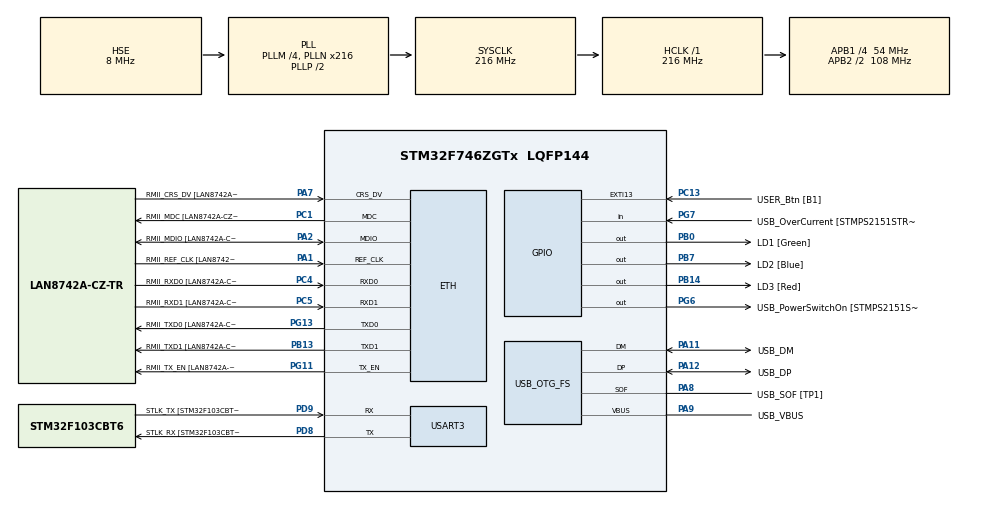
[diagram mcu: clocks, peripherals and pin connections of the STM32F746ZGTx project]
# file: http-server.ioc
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ETH.MediaInterface=ETH_MEDIA_INTERFACE_RMII
ETH.PHY_Name=LAN8742A_PHY_ADDRESS
ETH.PHY_Value=0
ETH.PhyAddress=0
FREERTOS.Tasks01=defaultTask,24,128,StartDefaultTask,Default,NULL,Dynamic,NULL,NULL
LWIP.HTTPD_LIMIT_SENDING_TO_2MSS=0
LWIP.LWIP_HTTPD=1
LWIP.LWIP_HTTPD_SSI_BY_FILE_EXTENSION=0
LWIP.LWIP_TCP=1
LWIP.MEMP_NUM_TCP_PCB=20
LWIP.MEMP_NUM_UDP_PCB=4
LWIP.Version=v2.1.2_Cube
Mcu.Family=STM32F7
Mcu.Name=STM32F746ZGTx
Mcu.Package=LQFP144
NVIC.ETH_IRQn=true\:5\:0\:false\:false\:true\:true\:false\:true\:true
NVIC.PriorityGroup=NVIC_PRIORITYGROUP_4
PA1.GPIO_Label=RMII_REF_CLK [LAN8742A-CZ-TR_REFCLK0]
PA1.Mode=RMII
PA1.Signal=ETH_REF_CLK
PA10.GPIO_Label=USB_ID
PA10.Signal=USB_OTG_FS_ID
PA11.GPIO_Label=USB_DM
PA11.Mode=Device_Only
PA11.Signal=USB_OTG_FS_DM
PA12.GPIO_Label=USB_DP
PA12.Mode=Device_Only
PA12.Signal=USB_OTG_FS_DP
PA13.GPIO_Label=TMS
PA13.Mode=Serial_Wire
PA13.Signal=SYS_JTMS-SWDIO
PA14.GPIO_Label=TCK
PA14.Mode=Serial_Wire
PA14.Signal=SYS_JTCK-SWCLK
PA2.GPIO_Label=RMII_MDIO [LAN8742A-CZ-TR_MDIO]
PA2.Mode=RMII
PA2.Signal=ETH_MDIO
PA7.GPIO_Label=RMII_CRS_DV [LAN8742A-CZ-TR_CRS_DV]
PA7.Mode=RMII
PA7.Signal=ETH_CRS_DV
PA8.GPIO_Label=USB_SOF [TP1]
PA8.Mode=Activate_SOF_FS
PA8.Signal=USB_OTG_FS_SOF
PA9.GPIO_Label=USB_VBUS
PA9.Mode=Activate_VBUS
PA9.Signal=USB_OTG_FS_VBUS
PB0.GPIO_Label=LD1 [Green]
PB0.Signal=GPIO_Output
PB13.GPIO_Label=RMII_TXD1 [LAN8742A-CZ-TR_TXD1]
PB13.Mode=RMII
PB13.Signal=ETH_TXD1
PB14.GPIO_Label=LD3 [Red]
PB14.Signal=GPIO_Output
PB3.GPIO_Label=SW0
PB3.Signal=SYS_JTDO-SWO
PB7.GPIO_Label=LD2 [Blue]
PB7.Signal=GPIO_Output
PC1.GPIO_Label=RMII_MDC [LAN8742A-CZ-TR_MDC]
PC1.Mode=RMII
PC1.Signal=ETH_MDC
PC13.GPIO_Label=USER_Btn [B1]
PC13.Signal=GPXTI13
PC14/OSC32_IN.Mode=LSE-External-Oscillator
PC14/OSC32_IN.Signal=RCC_OSC32_IN
PC15/OSC32_OUT.Mode=LSE-External-Oscillator
PC15/OSC32_OUT.Signal=RCC_OSC32_OUT
PC4.GPIO_Label=RMII_RXD0 [LAN8742A-CZ-TR_RXD0]
PC4.Mode=RMII
PC4.Signal=ETH_RXD0
PC5.GPIO_Label=RMII_RXD1 [LAN8742A-CZ-TR_RXD1]
PC5.Mode=RMII
PC5.Signal=ETH_RXD1
PD8.GPIO_Label=STLK_RX [STM32F103CBT6_PA3]
PD8.Mode=Asynchronous
PD8.Signal=USART3_TX
PD9.GPIO_Label=STLK_TX [STM32F103CBT6_PA2]
PD9.Mode=Asynchronous
PD9.Signal=USART3_RX
PG11.GPIO_Label=RMII_TX_EN [LAN8742A-CZ-TR_TXEN]
PG11.Mode=RMII
PG11.Signal=ETH_TX_EN
PG13.GPIO_Label=RMII_TXD0 [LAN8742A-CZ-TR_TXD0]
PG13.Mode=RMII
PG13.Signal=ETH_TXD0
PG6.GPIO_Label=USB_PowerSwitchOn [STMPS2151STR_EN]
PG6.Signal=GPIO_Output
PG7.GPIO_Label=USB_OverCurrent [STMPS2151STR_FAULT]
PG7.Signal=GPIO_Input
PH0/OSC_IN.GPIO_Label=MCO [STM32F103CBT6_PA8]
PH0/OSC_IN.Mode=HSE-External-Clock-Source
PH0/OSC_IN.Signal=RCC_OSC_IN
PH1/OSC_OUT.Mode=HSE-External-Clock-Source
PH1/OSC_OUT.Signal=RCC_OSC_OUT
ProjectManager.HeapSize=0x200
ProjectManager.StackSize=0x400
ProjectManager.TargetToolchain=STM32CubeIDE
RCC.48MHZClocksFreq_Value=24000000
RCC.AHBFreq_Value=216000000
RCC.APB1CLKDivider=RCC_HCLK_DIV4
RCC.APB1Freq_Value=54000000
RCC.APB1TimFreq_Value=108000000
RCC.APB2CLKDivider=RCC_HCLK_DIV2
RCC.APB2Freq_Value=108000000
RCC.APB2TimFreq_Value=216000000
RCC.CortexFreq_Value=216000000
RCC.HCLKFreq_Value=216000000
RCC.HSE_VALUE=8000000
RCC.HSI_VALUE=16000000
RCC.PLLM=4
RCC.PLLMUL=RCC_PLL_MUL9
RCC.PLLN=216
RCC.PLLQ=9
RCC.PRESCALERUSB=RCC_USBCLKSOURCE_PLL_DIV1_5
RCC.SYSCLKFreq_VALUE=216000000
RCC.SYSCLKSource=RCC_SYSCLKSOURCE_PLLCLK
RCC.SYSCLKSourceVirtual=RCC_SYSCLKSOURCE_PLLCLK
RCC.USBFreq_Value=48000000
RCC.VCOOutputFreq_Value=432000000
USART3.VirtualMode-Asynchronous=VM_ASYNC
USB_OTG_FS.VirtualMode=Device_Only
VP_FREERTOS_VS_CMSIS_V2.Mode=CMSIS_V2
VP_LWIP_VS_Enabled.Mode=Enabled
board=NUCLEO-F746ZG

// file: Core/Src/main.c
/* USER CODE BEGIN Header */
/**
 ******************************************************************************
 * @file           : main.c
 * @brief          : Main program body
 ******************************************************************************
 * @attention
 *
 * Copyright (c) 2022 STMicroelectronics.
 * All rights reserved.
 *
 * This software is licensed under terms that can be found in the LICENSE file
 * in the root directory of this software component.
 * If no LICENSE file comes with this software, it is provided AS-IS.
 *
 ******************************************************************************
 */
/* USER CODE END Header */
#include "main.h"
#include "apps/httpd.h"
#include "cmsis_os.h"
#include "lwip.h"
#include "mongoose.h"

#define MG

UART_HandleTypeDef huart3;

PCD_HandleTypeDef hpcd_USB_OTG_FS;

/* Definitions for defaultTask */
osThreadId_t defaultTaskHandle;
const osThreadAttr_t defaultTask_attributes = {
    .name = "defaultTask",
    .stack_size = 1024 * 4,
    .priority = (osPriority_t) osPriorityNormal,
};

void SystemClock_Config(void);
static void MX_GPIO_Init(void);
static void MX_USART3_UART_Init(void);
static void MX_USB_OTG_FS_PCD_Init(void);
void StartDefaultTask(void *argument);

int main(void) {

  /* MCU Configuration--------------------------------------------------------*/

  /* Reset of all peripherals, Initializes the Flash interface and the Systick.
   */
  HAL_Init();

  /* Configure the system clock */
  SystemClock_Config();

  /* Initialize all configured peripherals */
  MX_GPIO_Init();
  MX_USART3_UART_Init();
  MX_USB_OTG_FS_PCD_Init();

  /* Init scheduler */
  osKernelInitialize();

  /* Create the thread(s) */
  /* creation of defaultTask */
  defaultTaskHandle =
      osThreadNew(StartDefaultTask, NULL, &defaultTask_attributes);

  /* Start scheduler */
  osKernelStart();

  /* We should never get here as control is now taken by the scheduler */
  /* Infinite loop */
  while (1) {

  }
}

void SystemClock_Config(void) {
  RCC_OscInitTypeDef RCC_OscInitStruct = {0};
  RCC_ClkInitTypeDef RCC_ClkInitStruct = {0};

  /** Configure LSE Drive Capability
   */
  HAL_PWR_EnableBkUpAccess();

  /** Configure the main internal regulator output voltage
   */
  __HAL_RCC_PWR_CLK_ENABLE();
  __HAL_PWR_VOLTAGESCALING_CONFIG(PWR_REGULATOR_VOLTAGE_SCALE1);

  /** Initializes the RCC Oscillators according to the specified parameters
   * in the RCC_OscInitTypeDef structure.
   */
  RCC_OscInitStruct.OscillatorType = RCC_OSCILLATORTYPE_HSE;
  RCC_OscInitStruct.HSEState = RCC_HSE_BYPASS;
  RCC_OscInitStruct.PLL.PLLState = RCC_PLL_ON;
  RCC_OscInitStruct.PLL.PLLSource = RCC_PLLSOURCE_HSE;
  RCC_OscInitStruct.PLL.PLLM = 4;
  RCC_OscInitStruct.PLL.PLLN = 216;
  RCC_OscInitStruct.PLL.PLLP = RCC_PLLP_DIV2;
  RCC_OscInitStruct.PLL.PLLQ = 9;
  if (HAL_RCC_OscConfig(&RCC_OscInitStruct) != HAL_OK) {
    Error_Handler();
  }

  /** Activate the Over-Drive mode
   */
  if (HAL_PWREx_EnableOverDrive() != HAL_OK) {
    Error_Handler();
  }

  /** Initializes the CPU, AHB and APB buses clocks
   */
  RCC_ClkInitStruct.ClockType = RCC_CLOCKTYPE_HCLK | RCC_CLOCKTYPE_SYSCLK |
                                RCC_CLOCKTYPE_PCLK1 | RCC_CLOCKTYPE_PCLK2;
  RCC_ClkInitStruct.SYSCLKSource = RCC_SYSCLKSOURCE_PLLCLK;
  RCC_ClkInitStruct.AHBCLKDivider = RCC_SYSCLK_DIV1;
  RCC_ClkInitStruct.APB1CLKDivider = RCC_HCLK_DIV4;
  RCC_ClkInitStruct.APB2CLKDivider = RCC_HCLK_DIV2;

  if (HAL_RCC_ClockConfig(&RCC_ClkInitStruct, FLASH_LATENCY_7) != HAL_OK) {
    Error_Handler();
  }
}

static void MX_USART3_UART_Init(void) {

  huart3.Instance = USART3;
  huart3.Init.BaudRate = 115200;
  huart3.Init.WordLength = UART_WORDLENGTH_8B;
  huart3.Init.StopBits = UART_STOPBITS_1;
  huart3.Init.Parity = UART_PARITY_NONE;
  huart3.Init.Mode = UART_MODE_TX_RX;
  huart3.Init.HwFlowCtl = UART_HWCONTROL_NONE;
  huart3.Init.OverSampling = UART_OVERSAMPLING_16;
  huart3.Init.OneBitSampling = UART_ONE_BIT_SAMPLE_DISABLE;
  huart3.AdvancedInit.AdvFeatureInit = UART_ADVFEATURE_NO_INIT;
  if (HAL_UART_Init(&huart3) != HAL_OK) {
    Error_Handler();
  }
}

static void MX_USB_OTG_FS_PCD_Init(void) {

  hpcd_USB_OTG_FS.Instance = USB_OTG_FS;
  hpcd_USB_OTG_FS.Init.dev_endpoints = 6;
  hpcd_USB_OTG_FS.Init.speed = PCD_SPEED_FULL;
  hpcd_USB_OTG_FS.Init.dma_enable = DISABLE;
  hpcd_USB_OTG_FS.Init.phy_itface = PCD_PHY_EMBEDDED;
  hpcd_USB_OTG_FS.Init.Sof_enable = ENABLE;
  hpcd_USB_OTG_FS.Init.low_power_enable = DISABLE;
  hpcd_USB_OTG_FS.Init.lpm_enable = DISABLE;
  hpcd_USB_OTG_FS.Init.vbus_sensing_enable = ENABLE;
  hpcd_USB_OTG_FS.Init.use_dedicated_ep1 = DISABLE;
  if (HAL_PCD_Init(&hpcd_USB_OTG_FS) != HAL_OK) {
    Error_Handler();
  }
}

static void MX_GPIO_Init(void) {
  GPIO_InitTypeDef GPIO_InitStruct = {0};

  /* GPIO Ports Clock Enable */
  __HAL_RCC_GPIOC_CLK_ENABLE();
  __HAL_RCC_GPIOH_CLK_ENABLE();
  __HAL_RCC_GPIOA_CLK_ENABLE();
  __HAL_RCC_GPIOB_CLK_ENABLE();
  __HAL_RCC_GPIOD_CLK_ENABLE();
  __HAL_RCC_GPIOG_CLK_ENABLE();

  /*Configure GPIO pin Output Level */
  HAL_GPIO_WritePin(GPIOB, LD1_Pin | LD3_Pin | LD2_Pin, GPIO_PIN_RESET);

  /*Configure GPIO pin Output Level */
  HAL_GPIO_WritePin(USB_PowerSwitchOn_GPIO_Port, USB_PowerSwitchOn_Pin,
                    GPIO_PIN_RESET);

  /*Configure GPIO pin : USER_Btn_Pin */
  GPIO_InitStruct.Pin = USER_Btn_Pin;
  GPIO_InitStruct.Mode = GPIO_MODE_IT_RISING;
  GPIO_InitStruct.Pull = GPIO_NOPULL;
  HAL_GPIO_Init(USER_Btn_GPIO_Port, &GPIO_InitStruct);

  /*Configure GPIO pins : LD1_Pin LD3_Pin LD2_Pin */
  GPIO_InitStruct.Pin = LD1_Pin | LD3_Pin | LD2_Pin;
  GPIO_InitStruct.Mode = GPIO_MODE_OUTPUT_PP;
  GPIO_InitStruct.Pull = GPIO_NOPULL;
  GPIO_InitStruct.Speed = GPIO_SPEED_FREQ_LOW;
  HAL_GPIO_Init(GPIOB, &GPIO_InitStruct);

  /*Configure GPIO pin : USB_PowerSwitchOn_Pin */
  GPIO_InitStruct.Pin = USB_PowerSwitchOn_Pin;
  GPIO_InitStruct.Mode = GPIO_MODE_OUTPUT_PP;
  GPIO_InitStruct.Pull = GPIO_NOPULL;
  GPIO_InitStruct.Speed = GPIO_SPEED_FREQ_LOW;
  HAL_GPIO_Init(USB_PowerSwitchOn_GPIO_Port, &GPIO_InitStruct);

  /*Configure GPIO pin : USB_OverCurrent_Pin */
  GPIO_InitStruct.Pin = USB_OverCurrent_Pin;
  GPIO_InitStruct.Mode = GPIO_MODE_INPUT;
  GPIO_InitStruct.Pull = GPIO_NOPULL;
  HAL_GPIO_Init(USB_OverCurrent_GPIO_Port, &GPIO_InitStruct);
}

/* USER CODE BEGIN Header_StartDefaultTask */

#ifdef MG
static void fn(struct mg_connection *c, int ev, void *ev_data, void *fn_data) {
  // struct mg_http_serve_opts opts = {.root_dir = "."};   // Serve local dir
  if (ev == MG_EV_HTTP_MSG) mg_http_reply(c, 200, "", "hi mongoose\n");
}
#endif

/**
 * @brief  Function implementing the defaultTask thread.
 * @param  argument: Not used
 * @retval None
 */
/* USER CODE END Header_StartDefaultTask */
void StartDefaultTask(void *argument) {
  /* init code for LWIP */
  MX_LWIP_Init();
  /* USER CODE BEGIN 5 */

  extern struct netif gnetif;
  uint32_t ip = 0;
  while ((ip = netif_dhcp_data(&gnetif)->offered_ip_addr.addr) == 0) {
    printf("Waiting for IP address...\n");
    HAL_Delay(200);
  }
  printf("Network is up, IP: %lu.%lu.%lu.%lu\n", ((ip >> 0) & 255),
         ((ip >> 8) & 255), ((ip >> 16) & 255), ((ip >> 24) & 255));

#ifdef MG
  mg_log_set(MG_LL_DEBUG);
  struct mg_mgr mgr;
  mg_mgr_init(&mgr);
  MG_INFO(("Starting server ...."));
  mg_http_listen(&mgr, "http://0.0.0.0:80", fn, &mgr);  // Setup listener
  for (;;) mg_mgr_poll(&mgr, 1000);                     // Event loop
#else
  httpd_init();
#endif

  for (;;) (void) 0;  // Unreachable
  /* USER CODE END 5 */
}

void Error_Handler(void) {
  __disable_irq();
  while (1) {
  }
}

#ifdef USE_FULL_ASSERT
/**
 * @brief  Reports the name of the source file and the source line number
 *         where the assert_param error has occurred.
 * @param  file: pointer to the source file name
 * @param  line: assert_param error line source number
 * @retval None
 */
void assert_failed(uint8_t *file, uint32_t line) {
  /* USER CODE BEGIN 6 */
  /* User can add his own implementation to report the file name and line
     number,
     ex: printf("Wrong parameters value: file %s on line %d\r\n", file, line) */
  /* USER CODE END 6 */
}
#endif /* USE_FULL_ASSERT */
